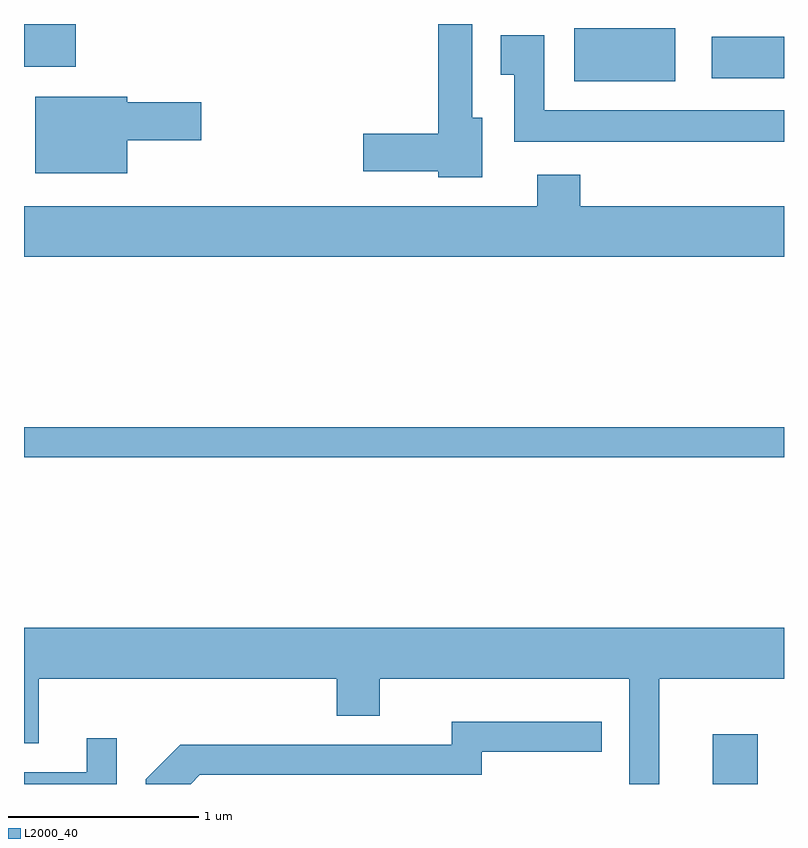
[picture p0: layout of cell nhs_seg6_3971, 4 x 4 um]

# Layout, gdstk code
import gdstk
lib = gdstk.Library(unit=1e-6, precision=1e-09)
def R(c, l, rs):  # rectangles x0, y0, x1, y1
    for r in rs: c.add(gdstk.rectangle(r[:2], r[2:], *l))
def P(c, l, *ps):  # polygons
    for p in ps: c.add(gdstk.Polygon(p, *l))
L2000_40 = (2000, 40)

nhs_seg6_3971 = lib.new_cell('nhs_seg6_3971')
R(nhs_seg6_3971, L2000_40, [(309.236,1536.162,309.474,1536.424), (305.611,1537.881,309.611,1538.039), (308.506,1539.861,309.039,1540.139), (309.231,1539.876,309.611,1540.094), (305.611,1539.936,305.884,1540.162)])
P(nhs_seg6_3971, L2000_40, [(308.024,1539.669),(307.969,1539.669),(307.969,1540.162),(307.791,1540.162),(307.791,1539.584),(307.396,1539.584),(307.396,1539.386),(307.791,1539.386),(307.791,1539.356),(308.024,1539.356)],
  [(309.611,1539.709),(308.349,1539.709),(308.349,1540.104),(308.121,1540.104),(308.121,1539.896),(308.191,1539.896),(308.191,1539.541),(309.611,1539.541)],
  [(306.154,1539.551),(306.544,1539.551),(306.544,1539.749),(306.154,1539.749),(306.154,1539.779),(305.671,1539.779),(305.671,1539.376),(306.154,1539.376)],
  [(309.611,1539.204),(308.539,1539.204),(308.539,1539.369),(308.311,1539.369),(308.311,1539.204),(305.611,1539.204),(305.611,1538.936),(309.611,1538.936)],
  [(308.954,1536.716),(309.611,1536.716),(309.611,1536.984),(305.611,1536.984),(305.611,1536.376),(305.689,1536.376),(305.689,1536.716),(307.256,1536.716),(307.256,1536.521),(307.484,1536.521),(307.484,1536.716),(308.796,1536.716),(308.796,1536.162),(308.954,1536.162)],
  [(306.537,1536.211),(308.019,1536.211),(308.019,1536.331),(308.653,1536.331),(308.653,1536.489),(307.861,1536.489),(307.861,1536.369),(306.434,1536.369),(306.251,1536.187),(306.251,1536.162),(306.488,1536.162)],
  [(306.099,1536.403),(305.941,1536.403),(305.941,1536.224),(305.611,1536.224),(305.611,1536.162),(306.099,1536.162)])

lib.write_gds('nhs_seg6_3971.gds')
